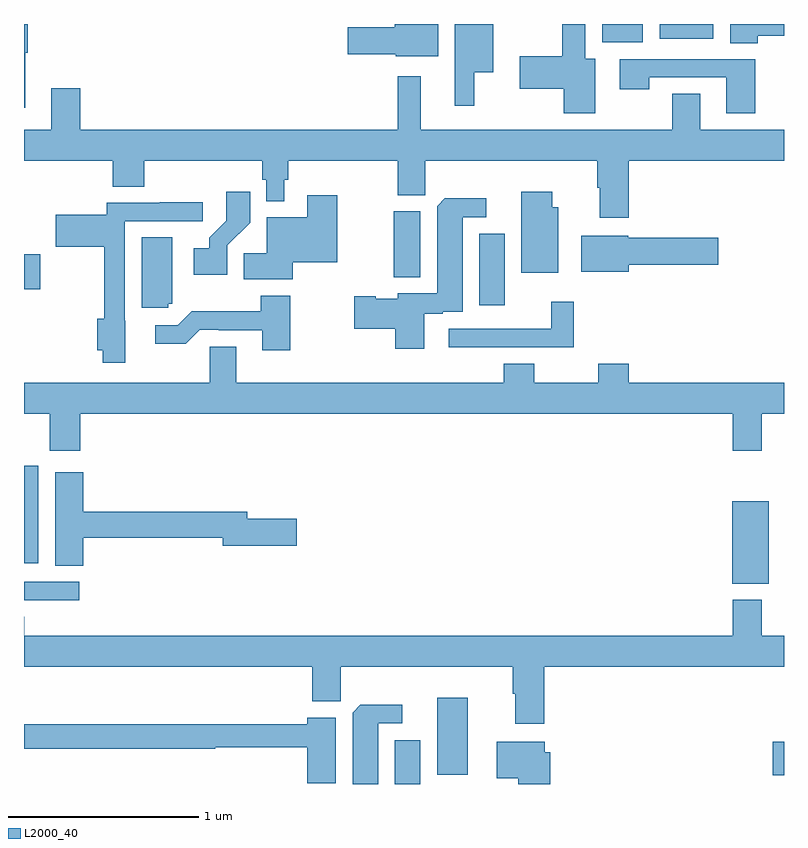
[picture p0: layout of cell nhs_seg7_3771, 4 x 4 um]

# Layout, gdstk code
import gdstk
lib = gdstk.Library(unit=1e-6, precision=1e-09)
def R(c, l, rs):  # rectangles x0, y0, x1, y1
    for r in rs: c.add(gdstk.rectangle(r[:2], r[2:], *l))
def P(c, l, *ps):  # polygons
    for p in ps: c.add(gdstk.Polygon(p, *l))
L2000_40 = (2000, 40)

nhs_seg7_3771 = lib.new_cell('nhs_seg7_3771')
R(nhs_seg7_3771, L2000_40, [(352.952,1000,353.086,1000.231), (354.942,1000.046,355,1000.222), (353.174,1000.05,353.335,1000.453), (351,1000.968,351.292,1001.064), (354.728,1001.054,354.919,1001.488), (351,1001.162,351.076,1001.674), (353.396,1002.519,353.53,1002.895), (351,1002.605,351.085,1002.788), (352.946,1002.667,353.086,1003.014), (354.044,1003.904,354.256,1004), (354.347,1003.922,354.628,1004)])
P(nhs_seg7_3771, L2000_40, [(353.371,1003.745),(353.47,1003.745),(353.47,1004),(353.267,1004),(353.267,1003.569),(353.371,1003.569)],
  [(351.007,1003.848),(351.02,1003.848),(351.02,1004),(351,1004),(351,1003.56),(351.007,1003.56)],
  [(353.179,1004),(352.952,1004),(352.952,1003.982),(352.704,1003.982),(352.704,1003.84),(352.956,1003.84),(352.956,1003.829),(353.179,1003.829)],
  [(354.863,1003.937),(355,1003.937),(355,1004),(354.716,1004),(354.716,1003.9),(354.863,1003.9)],
  [(354.007,1003.816),(353.953,1003.816),(353.953,1004),(353.833,1004),(353.833,1003.829),(353.61,1003.829),(353.61,1003.658),(353.84,1003.658),(353.84,1003.53),(354.007,1003.53)],
  [(354.848,1003.815),(354.135,1003.815),(354.135,1003.656),(354.291,1003.656),(354.291,1003.719),(354.695,1003.719),(354.695,1003.53),(354.848,1003.53)],
  [(354.182,1003.28),(355,1003.28),(355,1003.444),(354.559,1003.444),(354.559,1003.634),(354.412,1003.634),(354.412,1003.444),(353.089,1003.444),(353.089,1003.726),(352.968,1003.726),(352.968,1003.444),(351.296,1003.444),(351.296,1003.663),(351.143,1003.663),(351.143,1003.444),(351,1003.444),(351,1003.28),(351.467,1003.28),(351.467,1003.144),(351.632,1003.144),(351.632,1003.28),(352.255,1003.28),(352.255,1003.179),(352.275,1003.179),(352.275,1003.067),(352.371,1003.067),(352.371,1003.179),(352.391,1003.179),(352.391,1003.28),(352.966,1003.28),(352.966,1003.099),(353.111,1003.099),(353.111,1003.28),(354.017,1003.28),(354.017,1003.139),(354.029,1003.139),(354.029,1002.981),(354.182,1002.981)],
  [(353.812,1003.036),(353.779,1003.036),(353.779,1003.117),(353.618,1003.117),(353.618,1002.692),(353.812,1002.692)],
  [(352.071,1002.835),(352.19,1002.954),(352.19,1003.117),(352.065,1003.117),(352.065,1002.965),(351.974,1002.875),(351.974,1002.82),(351.894,1002.82),(351.894,1002.68),(352.071,1002.68)],
  [(352.414,1002.746),(352.648,1002.746),(352.648,1003.099),(352.49,1003.099),(352.49,1002.982),(352.277,1002.982),(352.277,1002.794),(352.156,1002.794),(352.156,1002.656),(352.414,1002.656)],
  [(353.107,1002.474),(353.204,1002.474),(353.204,1002.486),(353.308,1002.486),(353.308,1002.984),(353.434,1002.984),(353.434,1003.082),(353.215,1003.082),(353.174,1003.04),(353.174,1002.582),(352.967,1002.582),(352.967,1002.553),(352.85,1002.553),(352.85,1002.566),(352.737,1002.566),(352.737,1002.395),(352.955,1002.395),(352.955,1002.291),(353.107,1002.291)],
  [(351.532,1002.438),(351.531,1002.438),(351.531,1002.963),(351.94,1002.963),(351.94,1003.062),(351.715,1003.062),(351.715,1003.059),(351.435,1003.059),(351.435,1002.997),(351.168,1002.997),(351.168,1002.827),(351.423,1002.827),(351.423,1002.45),(351.386,1002.45),(351.386,1002.284),(351.415,1002.284),(351.415,1002.216),(351.532,1002.216)],
  [(354.184,1002.734),(354.655,1002.734),(354.655,1002.876),(354.18,1002.876),(354.18,1002.886),(353.933,1002.886),(353.933,1002.695),(354.184,1002.695)],
  [(351.759,1002.528),(351.781,1002.528),(351.781,1002.877),(351.62,1002.877),(351.62,1002.507),(351.759,1002.507)],
  [(352.401,1002.571),(352.246,1002.571),(352.246,1002.487),(351.883,1002.487),(351.81,1002.414),(351.69,1002.414),(351.69,1002.317),(351.851,1002.317),(351.924,1002.39),(352.024,1002.39),(352.024,1002.387),(352.253,1002.387),(352.253,1002.282),(352.401,1002.282)],
  [(353.894,1002.538),(353.776,1002.538),(353.776,1002.396),(353.235,1002.396),(353.235,1002.3),(353.894,1002.3)],
  [(351.296,1001.948),(354.731,1001.948),(354.731,1001.754),(354.883,1001.754),(354.883,1001.948),(355,1001.948),(355,1002.112),(354.182,1002.112),(354.182,1002.211),(354.022,1002.211),(354.022,1002.112),(353.685,1002.112),(353.685,1002.211),(353.525,1002.211),(353.525,1002.112),(352.117,1002.112),(352.117,1002.302),(351.978,1002.302),(351.978,1002.112),(351,1002.112),(351,1001.948),(351.136,1001.948),(351.136,1001.754),(351.296,1001.754)],
  [(351.311,1001.296),(352.046,1001.296),(352.046,1001.254),(352.435,1001.254),(352.435,1001.396),(352.174,1001.396),(352.174,1001.432),(351.311,1001.432),(351.311,1001.641),(351.164,1001.641),(351.164,1001.149),(351.311,1001.149)],
  [(353.738,1000.616),(355,1000.616),(355,1000.78),(354.883,1000.78),(354.883,1000.969),(354.731,1000.969),(354.731,1000.78),(351.002,1000.78),(351.002,1000.879),(351,1000.879),(351,1000.616),(352.517,1000.616),(352.517,1000.435),(352.667,1000.435),(352.667,1000.616),(353.573,1000.616),(353.573,1000.475),(353.585,1000.475),(353.585,1000.317),(353.738,1000.317)],
  [(352.864,1000.32),(352.99,1000.32),(352.99,1000.418),(352.771,1000.418),(352.73,1000.376),(352.73,1000),(352.864,1000)],
  [(352.642,1000.35),(352.49,1000.35),(352.49,1000.315),(351,1000.315),(351,1000.186),(352.006,1000.186),(352.006,1000.194),(352.49,1000.194),(352.49,1000.003),(352.642,1000.003)],
  [(353.771,1000.167),(353.74,1000.167),(353.74,1000.222),(353.489,1000.222),(353.489,1000.031),(353.6,1000.031),(353.6,1000),(353.771,1000)])

lib.write_gds('nhs_seg7_3771.gds')
